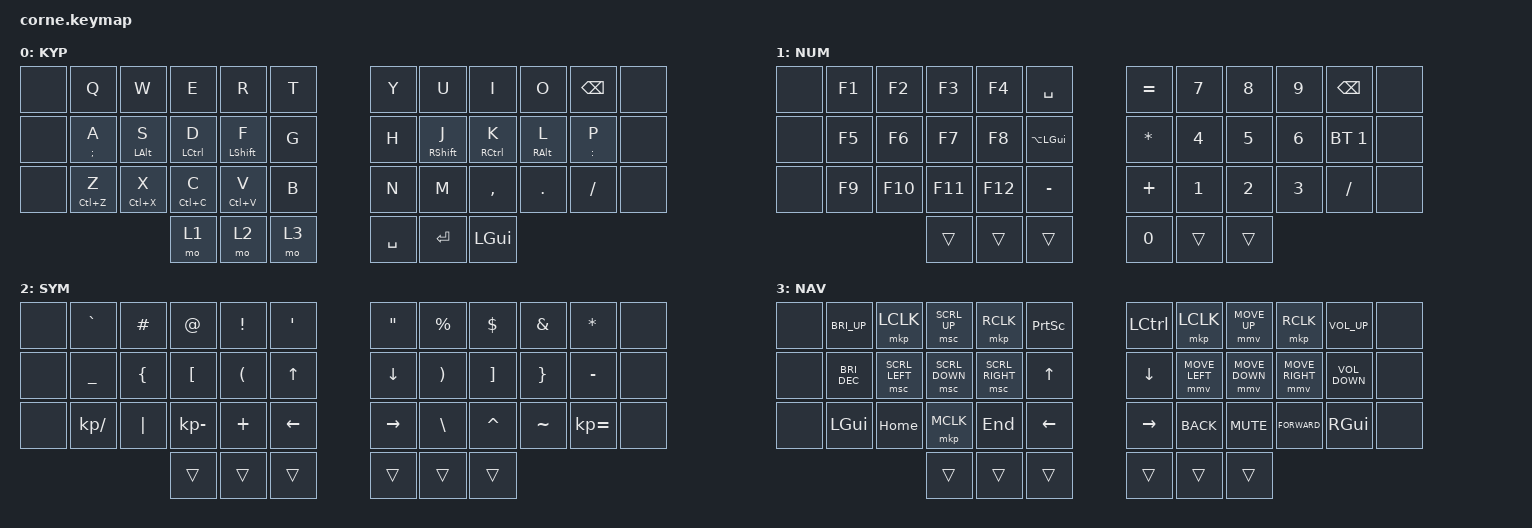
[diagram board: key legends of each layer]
#define ZMK_POINTING_DEFAULT_MOVE_VAL 1100  // default: 600
#define ZMK_POINTING_DEFAULT_SCRL_VAL 10    // default: 10

#include <behaviors.dtsi>
#include <dt-bindings/zmk/bt.h>
#include <dt-bindings/zmk/keys.h>
#include <dt-bindings/zmk/pointing.h>

#define DEF 0
#define NAV 1
#define SYM 2
#define ADJ 3

//testing mouse movement and scroll binds...

&mmv {
    acceleration-exponent = <3>;
    time-to-max-speed-ms = <150>;
};

&msc {
    time-to-max-speed-ms = <200>;
    acceleration-exponent = <3>;
};

/ {
    behaviors {
        hml: homerow_layer {
            compatible = "zmk,behavior-hold-tap";
            label = "HOMEROW_LAYER";
            #binding-cells = <2>;
            tapping-term-ms = <200>;
            flavor = "tap-preferred";
            bindings = <&kp>, <&kp>;

            quick-tap-ms = <150>;
        };
    };

    combos {
        compatible = "zmk,combos";

        Tab {
            bindings = <&kp TAB>;
            key-positions = <22 21>;
            timeout-ms = <100>;
        };

        Delete {
            bindings = <&kp DELETE>;
            key-positions = <9 8 7>;
            require-prior-idle-ms = <100>;
        };

        Caps {
            bindings = <&kp CAPSLOCK>;
            key-positions = <16 19>;
        };

        NavTog {
            bindings = <&tog 3>;
            key-positions = <38 39>;
            layers = <3 1 0 4>;
        };

        SymbolToggle {
            bindings = <&tog 2>;
            key-positions = <37 40>;
            layers = <3 1 0 4>;
        };

        NumToggle {
            bindings = <&tog 1>;
            key-positions = <41 36>;
            layers = <3 1 0 4>;
        };

        Escape {
            bindings = <&kp ESCAPE>;
            key-positions = <1 2>;
            timeout-ms = <100>;
        };

        Def {
            bindings = <&personal>;
            key-positions = <41 10 15>;
        };

        Mem {
            bindings = <&work>;
            key-positions = <41 10 31>;
        };

        backspace {
            bindings = <&kp BACKSPACE>;
            key-positions = <10 9>;
        };
    };

    //

    macros {
        work: work {
            compatible = "zmk,behavior-macro";
            #binding-cells = <0>;
            bindings = <&none &kp AT &kp LS(M) &kp NUMBER_3 &kp M &kp N &kp N0 &kp C &kp H &kp N0 &kp NUMBER_3 &kp N6 &kp N9 &kp EXCL>;
            label = "WORK";
        };

        personal: perso {
            compatible = "zmk,behavior-macro";
            #binding-cells = <0>;
            bindings = <&none &kp LS(D) &kp N3 &kp F &kp Q &kp N0 &kp N &kp N1 &kp EXCL &kp N2 &kp N1 &kp N1 &kp N2>;
            label = "PERSO";
        };

        mighty: mighty {
            compatible = "zmk,behavior-macro";
            #binding-cells = <0>;
            bindings = <&kp LS(B) &kp U &kp I &kp L &kp T &kp LS(M) &kp I &kp G &kp H &kp T &kp Y &kp N1 &kp EXCL>;
            label = "MIGHTY";
        };
    };

    keymap {
        compatible = "zmk,keymap";

        KeyPress {
            display-name = "KYP";

            // -----------------------------------------------------------------------------------------
            // |  Q  |  W  |  E  |  R  |  T  |   |  Y  |  U   |  I  |  O  |  P  |
            // |  A  |  S  |  D  |  F  |  G  |   |  H  |  J   |  K  |  L  |  ;  |
            // |  Z  |  X  |  C  |  V  |  B  |   |  N  |  M   |  ,  |  .  |  /  |
            // | GUI | CTRL | SHFT | LWR | SPC |   | ENT | RSE  | BKSP | ALT | ESC |

            bindings = <
&none  &kp Q         &kp W            &kp E         &kp R              &kp T    &kp Y      &kp U               &kp I         &kp O             &kp BACKSPACE  &none
&none  &hml SEMI A   &hml LEFT_ALT S  &hml LCTRL D  &hml LEFT_SHIFT F  &kp G    &kp H      &hml RIGHT_SHIFT J  &hml RCTRL K  &hml RIGHT_ALT L  &hml COLON P   &none
&none  &hml LC(Z) Z  &hml LC(X) X     &hml LC(C) C  &hml LC(V) V       &kp B    &kp N      &kp M               &kp COMMA     &kp PERIOD        &kp SLASH      &none
                                      &mo 1         &mo 2              &mo 3    &kp SPACE  &kp RET             &kp LEFT_GUI
            >;

            label = "KeyPress";
        };

        Numpad {
            label = "Numpad";
            display-name = "NUM";
            bindings = <
&none  &kp F1  &kp F2   &kp F3   &kp F4   &kp SPACE           &kp EQUAL     &kp N7        &kp N8        &kp N9        &kp BACKSPACE  &none
&none  &kp F5  &kp F6   &kp F7   &kp F8   &kp LA(LEFT_GUI)    &kp ASTERISK  &kp NUMBER_4  &kp N5        &kp NUMBER_6  &bt BT_SEL 1   &none
&none  &kp F9  &kp F10  &kp F11  &kp F12  &kp MINUS           &kp PLUS      &kp NUMBER_1  &kp NUMBER_2  &kp NUMBER_3  &kp SLASH      &none
                        &trans   &trans   &trans              &kp N0        &trans        &trans
            >;
        };

        Symbol {
            label = "Symbol";
            display-name = "SYM";
            bindings = <
&none  &kp GRAVE      &kp HASH        &kp AT_SIGN       &kp EXCLAMATION       &kp SQT           &kp DOUBLE_QUOTES  &kp PERCENT            &kp DOLLAR         &kp AMPERSAND    &kp ASTERISK  &none
&none  &kp UNDER      &kp LEFT_BRACE  &kp LEFT_BRACKET  &kp LEFT_PARENTHESIS  &kp UP_ARROW      &kp DOWN           &kp RIGHT_PARENTHESIS  &kp RIGHT_BRACKET  &kp RIGHT_BRACE  &kp MINUS     &none
&none  &kp KP_DIVIDE  &kp PIPE        &kp KP_SUBTRACT   &kp PLUS              &kp LEFT_ARROW    &kp RIGHT_ARROW    &kp BACKSLASH          &kp CARET          &kp TILDE        &kp KP_EQUAL  &none
                                      &trans            &trans                &trans            &trans             &trans                 &trans
            >;
        };

        Navigation {
            label = "Navigation";
            display-name = "NAV";
            bindings = <
&none  &kp C_BRI_UP   &mkp LCLK       &msc SCRL_UP    &mkp RCLK        &kp PRINTSCREEN    &kp LCTRL        &mkp LCLK       &mmv MOVE_UP    &mkp RCLK        &kp C_VOLUME_UP    &none
&none  &kp C_BRI_DEC  &msc SCRL_LEFT  &msc SCRL_DOWN  &msc SCRL_RIGHT  &kp UP_ARROW       &kp DOWN         &mmv MOVE_LEFT  &mmv MOVE_DOWN  &mmv MOVE_RIGHT  &kp C_VOLUME_DOWN  &none
&none  &kp LEFT_GUI   &kp HOME        &mkp MCLK       &kp END          &kp LEFT_ARROW     &kp RIGHT_ARROW  &kp K_BACK      &kp K_MUTE      &kp K_FORWARD    &kp RIGHT_GUI      &none
                                      &trans          &trans           &trans             &trans           &trans          &trans
            >;
        };
    };

    conditional_layers { compatible = "zmk,conditional-layers"; };
};
